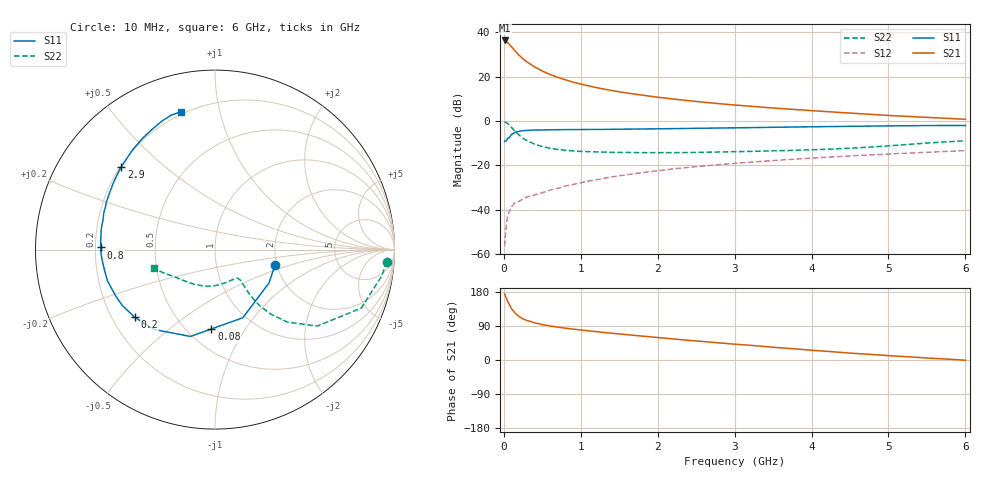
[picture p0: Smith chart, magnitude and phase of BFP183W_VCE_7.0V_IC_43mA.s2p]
! (c) 2017  Infineon Technologies AG, Munich
! Infineon Technologies  Discrete & RF Semiconductors
! BFP183W
! VCE =  7.0 V,  IC =  43 mA
! Common Emitter S-Parameters:  Jan 2017
# GHz  S  MA  R  50
!  f  S11  S21  S12  S22
! GHz  MAG  ANG  MAG  ANG  MAG  ANG  MAG  ANG
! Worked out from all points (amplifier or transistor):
!   77 points, 10 MHz to 6 GHz, reference 50 ohm
!   highest |S21| = 36.3 dB at 10 MHz (marker M1)
!   |S21| within 3 dB of that: start of sweep to 103.8 MHz
!   unconditionally stable (mu >= 1): 819.4 MHz to 3.325 GHz
!   at 130 MHz: K = 0.35, MSG = 34.9 dB, |S12| = -37.5 dB
!   at 2.2 GHz: K = 1.05, MAG = 14.3 dB, |S12| = -21.6 dB
!   at 6 GHz: K = 0.86, MSG = 7.1 dB, |S12| = -13.4 dB
!   S11 on the Smith chart (normalised r, x): 10 MHz: 1.96, -0.38; 80 MHz: 0.65, -0.72; 200 MHz: 0.29, -0.34; 800 MHz: 0.22, +0.01; 2.9 GHz: 0.20, +0.37; 6 GHz: 0.19, +0.77
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0.01  0.3453 -14.3  65.31 174.7  0.0015 91.2  0.9589 -4.0
0.02  0.3536 -31.7  64.45 168.7  0.0024 98.3  0.9408 -8.9
0.05  0.4101 -67.8  58.75 154.0  0.0074 71.9  0.8777 -21.8
0.08  0.4426 -92.6  51.02 143.6  0.0099 63.9  0.7718 -30.0
0.1  0.5027 -105.8  47.05 134.9  0.0117 60.6  0.7121 -36.7
0.15  0.5596 -127.3  37.28 122.7  0.0145 53.0  0.572 -45.0
0.2  0.5847 -139.9  30.15 114.4  0.0155 50.5  0.4764 -49.1
0.25  0.6034 -149.0  25.13 108.4  0.0174 50.0  0.4087 -51.2
0.3  0.6111 -155.2  21.39 104.2  0.0193 50.1  0.3603 -52.1
0.4  0.6239 -163.9  16.5 97.9  0.0215 53.8  0.2989 -52.1
0.5  0.6264 -169.8  13.33 93.4  0.0241 55.0  0.2645 -51.5
0.6  0.6313 -174.3  11.2 89.8  0.0275 57.8  0.2419 -51.0
0.7  0.6351 -178.0  9.626 86.9  0.0301 61.0  0.2268 -50.4
0.8  0.6374 178.9  8.457 84.0  0.0341 61.9  0.2182 -50.4
1.1  0.6427 170.9  6.177 77.1  0.044 64.2  0.2033 -52.0
1.5  0.651 162.6  4.544 68.8  0.058 65.2  0.195 -56.9
2.1  0.6674 151.4  3.276 57.5  0.0791 63.9  0.1928 -69.3
2.9  0.6961 138.5  2.368 43.5  0.107 60.2  0.201 -90.6
3.1  0.7025 135.6  2.217 40.3  0.1138 59.0  0.2039 -96.0
4.1  0.7421 122.1  1.665 24.3  0.1485 52.8  0.2269 -123.0
5.1  0.7761 111.8  1.304 10.3  0.1826 46.3  0.282 -148.9
6  0.791 103.9  1.09 -0.5  0.2143 39.8  0.3575 -163.0
